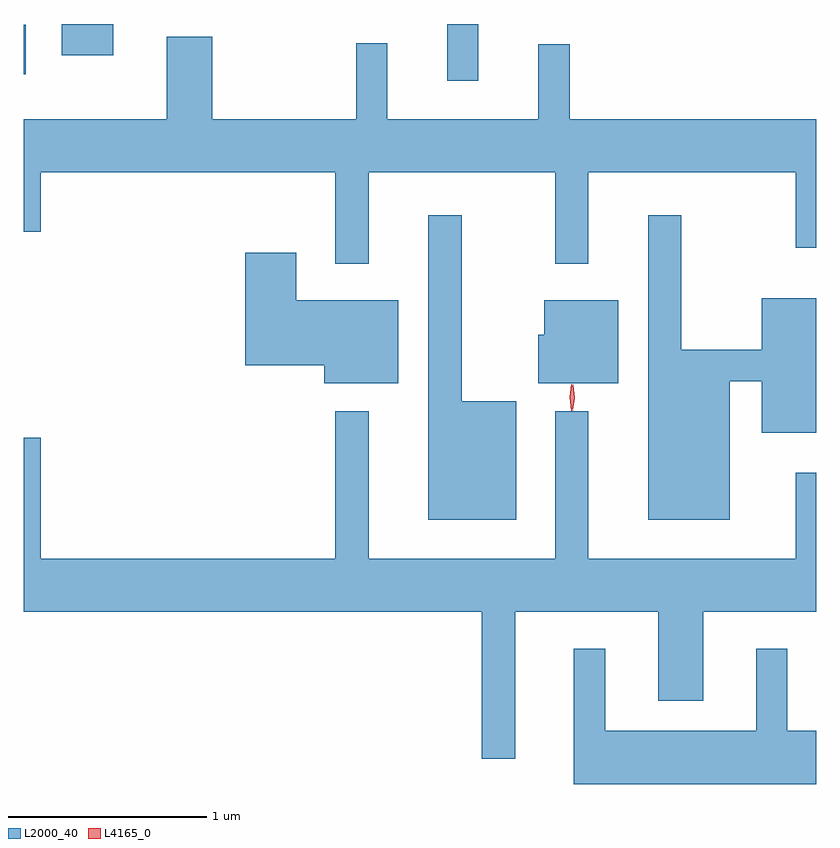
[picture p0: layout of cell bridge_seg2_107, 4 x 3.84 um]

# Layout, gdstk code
import gdstk
lib = gdstk.Library(unit=1e-6, precision=1e-09)
def R(c, l, rs):  # rectangles x0, y0, x1, y1
    for r in rs: c.add(gdstk.rectangle(r[:2], r[2:], *l))
def P(c, l, *ps):  # polygons
    for p in ps: c.add(gdstk.Polygon(p, *l))
L2000_40 = (2000, 40)
L4165_0 = (4165, 0)

bridge_seg2_107 = lib.new_cell('bridge_seg2_107')
R(bridge_seg2_107, L2000_40, [(916.696,1073.198,916.854,1073.484), (914.559,1073.231,914.569,1073.479), (914.751,1073.326,915.009,1073.484)])
P(bridge_seg2_107, L2000_40, [(917.156,1073.383),(917.156,1073.004),(916.394,1073.004),(916.394,1073.388),(916.236,1073.388),(916.236,1073.004),(915.509,1073.004),(915.509,1073.419),(915.281,1073.419),(915.281,1073.004),(914.559,1073.004),(914.559,1072.436),(914.644,1072.436),(914.644,1072.736),(916.131,1072.736),(916.131,1072.273),(916.299,1072.273),(916.299,1072.736),(917.241,1072.736),(917.241,1072.273),(917.409,1072.273),(917.409,1072.736),(918.456,1072.736),(918.456,1072.353),(918.559,1072.353),(918.559,1073.004),(917.314,1073.004),(917.314,1073.383)],
  [(917.044,1071.579),(916.769,1071.579),(916.769,1072.518),(916.601,1072.518),(916.601,1070.981),(917.044,1070.981)],
  [(918.124,1071.681),(918.286,1071.681),(918.286,1071.421),(918.559,1071.421),(918.559,1072.099),(918.286,1072.099),(918.286,1071.839),(917.879,1071.839),(917.879,1072.518),(917.711,1072.518),(917.711,1070.981),(918.124,1070.981)],
  [(916.449,1072.089),(915.934,1072.089),(915.934,1072.329),(915.676,1072.329),(915.676,1071.761),(916.076,1071.761),(916.076,1071.671),(916.449,1071.671)],
  [(917.559,1072.089),(917.186,1072.089),(917.186,1071.914),(917.156,1071.914),(917.156,1071.671),(917.559,1071.671)],
  [(917.039,1070.516),(917.761,1070.516),(917.761,1070.066),(917.989,1070.066),(917.989,1070.516),(918.559,1070.516),(918.559,1071.218),(918.456,1071.218),(918.456,1070.784),(917.409,1070.784),(917.409,1071.528),(917.241,1071.528),(917.241,1070.784),(916.299,1070.784),(916.299,1071.528),(916.131,1071.528),(916.131,1070.784),(914.644,1070.784),(914.644,1071.394),(914.559,1071.394),(914.559,1070.516),(916.871,1070.516),(916.871,1069.773),(917.039,1069.773)],
  [(918.559,1069.914),(918.414,1069.914),(918.414,1070.328),(918.256,1070.328),(918.256,1069.914),(917.494,1069.914),(917.494,1070.328),(917.336,1070.328),(917.336,1069.646),(918.559,1069.646)])
P(bridge_seg2_107, L4165_0, [(917.325,1071.529),(917.324,1071.53),(917.315,1071.598),(917.324,1071.666),(917.325,1071.666),(917.325,1071.666),(917.335,1071.598),(917.325,1071.53)],
  [(917.33,1071.532),(917.33,1071.533),(917.321,1071.597),(917.331,1071.661),(917.332,1071.661),(917.332,1071.661),(917.341,1071.597),(917.331,1071.533)])

lib.write_gds('bridge_seg2_107.gds')
